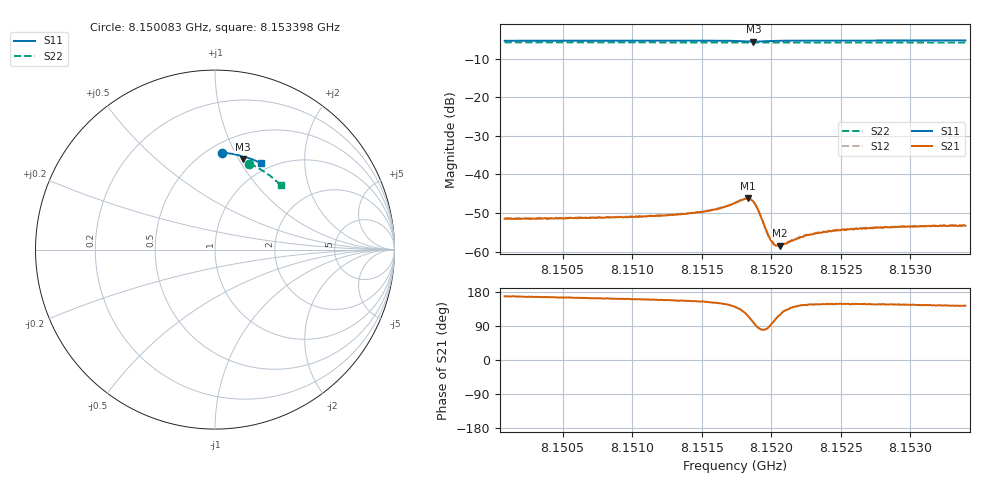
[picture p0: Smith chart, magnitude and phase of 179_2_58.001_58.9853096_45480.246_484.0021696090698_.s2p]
#  HZ  S  RI  R  50.00
! Rohde & Schwarz Vector Network Analyzer
! Rohde-Schwarz,ZNB20-2Port,1311601062101988,3.16
! Created: UTC 3/21/2024, 12:58:15 AM
! freq[Hz]  re:S11  im:S11  re:S21  im:S21  re:S12  im:S12  re:S22  im:S22
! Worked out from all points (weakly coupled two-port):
!   401 points, 8.150083 GHz to 8.153398 GHz, reference 50 ohm
!   highest |S21| = -46.22 dB at 8.151831 GHz (marker M1); lowest = -58.5 dB at 8.152063 GHz (marker M2)
!   lowest |S11| = -5.6 dB at 8.151873 GHz (marker M3), VSWR 3.22, Z = 37.4 + j51.9 ohm
!   |S11| at or under -10 dB: nowhere
!   |S22| runs from -5.8 to -5.8 dB; largest |S21 - S12| = 0.00012
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8.1500826e9  0.037 0.5392  -0.00261 0.000549  -0.00263 0.000591  0.1915 0.4787
8.1506379e9  0.076 0.5362  -0.00262 0.000751  -0.00267 0.00079  0.2241 0.4637
8.1511931e9  0.115 0.5299  -0.0027 0.00106  -0.00274 0.00112  0.2554 0.4464
8.1513174e9  0.1238 0.5281  -0.00277 0.00116  -0.00279 0.00121  0.2625 0.4423
8.1515246e9  0.1392 0.5239  -0.00296 0.00148  -0.00296 0.00156  0.2736 0.4349
8.1516241e9  0.147 0.5209  -0.00311 0.00181  -0.00313 0.00188  0.2791 0.4314
8.1517401e9  0.1566 0.515  -0.00327 0.00273  -0.00326 0.00278  0.285 0.4269
8.1517981e9  0.1598 0.5089  -0.00294 0.0037  -0.00292 0.00378  0.2881 0.4247
8.1518312e9  0.1591 0.5048  -0.00222 0.00435  -0.00221 0.0044  0.2896 0.4234
8.1518478e9  0.1577 0.5031  -0.00163 0.00449  -0.00159 0.00457  0.2903 0.4227
8.1518727e9  0.1546 0.5024  -0.000689 0.00437  -0.000613 0.00441  0.2915 0.4219
8.1519058e9  0.1514 0.5052  0.000279 0.00346  0.000325 0.00351  0.293 0.4209
8.1519638e9  0.1537 0.5118  0.000266 0.00188  0.000295 0.00189  0.2963 0.419
8.151997e9  0.1569 0.5137  -5.71e-05 0.00142  -3.54e-05 0.00142  0.2978 0.4177
8.1520136e9  0.1588 0.5142  -0.000213 0.00126  -0.000195 0.0013  0.2988 0.4172
8.1520301e9  0.1604 0.5145  -0.00035 0.00115  -0.000346 0.00118  0.2997 0.4165
8.1520633e9  0.1637 0.5147  -0.000571 0.00105  -0.000623 0.00103  0.3015 0.4154
8.1522207e9  0.1773 0.5129  -0.00126 0.0009  -0.00124 0.000939  0.3096 0.4092
8.1522953e9  0.1828 0.5115  -0.0014 0.000914  -0.00141 0.000971  0.3132 0.4062
8.1525025e9  0.1975 0.5068  -0.00163 0.00101  -0.0016 0.00105  0.3235 0.3977
8.1528506e9  0.2207 0.4979  -0.00173 0.00113  -0.00172 0.00117  0.3401 0.383
8.1533975e9  0.2556 0.482  -0.00173 0.00129  -0.00175 0.00133  0.365 0.3584
